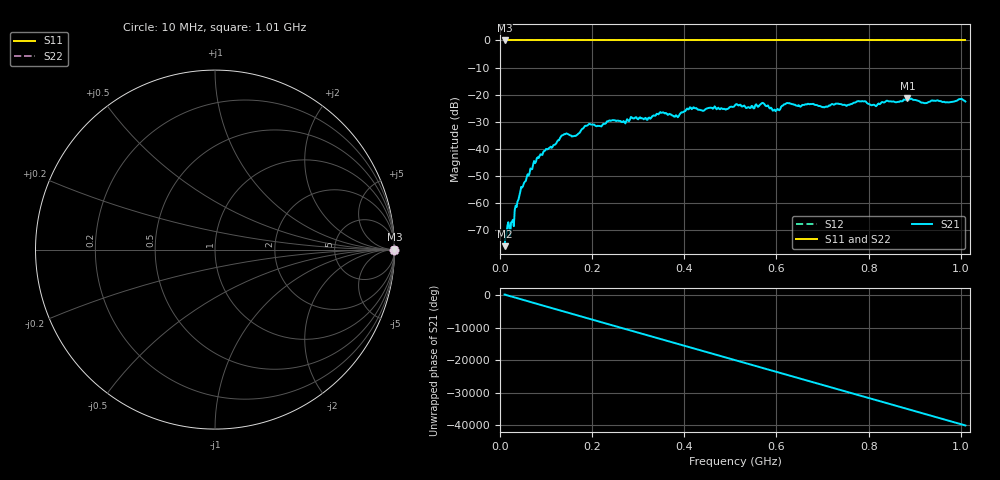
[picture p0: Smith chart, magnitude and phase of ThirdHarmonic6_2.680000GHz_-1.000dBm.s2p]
! 8/17/2025 6:17:42 AM
! C:\ANRITSUVNA\TEMP\TEMP.S2P
! CHANNEL.1
! TR.MEASUREMENT
! RAW.DATA
! RF.CORRECTION.OFF
! AVERAGING.OFF
! IF.BANDWIDTH: 5KHZ
! SWEEPTYPE:  FREQ.SWEEP(Linear)
! Reference Plane Port Info
! PORT:  PORT1  PORT2
! DISTANCE:  0  m  0  m
! TIME:  0  s  0  s
! PHASE.OFFSET:  0  deg.  0  deg.
! LOSS:  0  dB  0  dB
! REF.LOSS:  0  dB  0  dB
! REF.FREQ:  0  Hz  0  Hz
! Power Info
! POWER:  -20  dBm  -20  dBm
! EFF.POWER:  -20  dBm  -20  dBm
! SOURCE.ATTEN:  0  dB  0  dB
! TEST.ATTEN:  0  dB  0  dB
# GHZ S RI R 50.0
! FREQ.GHZ  S11RE  S11IM  S21RE  S21IM  S12RE  S12IM  S22RE  S22IM
!; PortSelection: Port_12
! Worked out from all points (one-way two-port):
!   501 points, 10 MHz to 1.01 GHz, reference 50 ohm
!   highest |S21| = -21.40 dB at 884 MHz (marker M1); lowest = -75.9 dB at 10 MHz (marker M2)
!   lowest |S11| = 0.0 dB at 10 MHz (marker M3)
!   |S11| at or under -10 dB: nowhere
!   |S22| runs from 0.0 to 0.0 dB; largest |S21 - S12| = 1.1
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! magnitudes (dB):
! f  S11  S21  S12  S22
! 10 MHz  0.0  -75.9  0.0  0.0
! 16 MHz  0.0  -68.5  0.0  0.0
! 26 MHz  0.0  -66.9  0.0  0.0
! 48 MHz  0.0  -54.3  0.0  0.0
! 78 MHz  0.0  -44.8  0.0  0.0
! 136 MHz  0.0  -35.0  0.0  0.0
! 162 MHz  0.0  -35.2  0.0  0.0
! 178 MHz  0.0  -32.7  0.0  0.0
! 344 MHz  0.0  -27.3  0.0  0.0
! 382 MHz  0.0  -27.6  0.0  0.0
! 410 MHz  0.0  -25.3  0.0  0.0
! 510 MHz  0.0  -23.9  0.0  0.0
! 570 MHz  0.0  -23.0  0.0  0.0
! 596 MHz  0.0  -25.5  0.0  0.0
! 624 MHz  0.0  -23.1  0.0  0.0
! 678 MHz  0.0  -23.4  0.0  0.0
! 702 MHz  0.0  -24.6  0.0  0.0
! 788 MHz  0.0  -22.4  0.0  0.0
! 814 MHz  0.0  -24.0  0.0  0.0
! 844 MHz  0.0  -22.5  0.0  0.0
! 884 MHz  0.0  -21.4  0.0  0.0
! 1.01 GHz  0.0  -22.5  0.0  0.0
